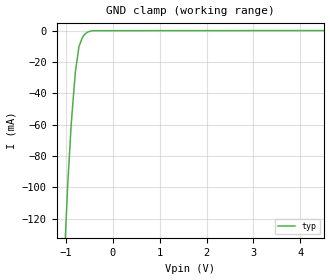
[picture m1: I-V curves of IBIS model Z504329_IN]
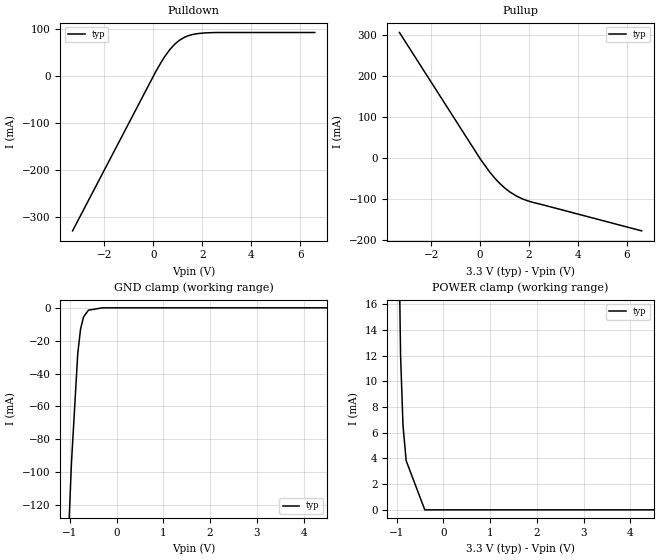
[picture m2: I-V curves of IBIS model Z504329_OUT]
| YOU ARE ONLY AUTHORIZED TO USE THIS SOFTWARE
| ACCORDING TO LICENSOR'S LICENSE RESTRICTIONS.
[IBIS Ver] 3.1
[File Name] mc74lcx00d.ibs
[File Rev] 2.0
[Source] Measured and created by ICX Technology
[Date] Friday 7/14/00 9:08:12 AM
[Copyright]
| (C) COPYRIGHT 1993-2000
| MENTOR GRAPHICS CORPORATION
| ICX STANDARD LIBRARY, ICX PROJECT MODELING,
| ICX CUSTOM MODELING, ICX VENDOR MODEL
| ALL RIGHTS RESERVED.
| THE FOLLOWING ARE TRADEMARKS OR SERVICE MARKS OF
| MENTOR GRAPHICS CORPORATION:ICX (R), ICX STANDARD
| LIBRARY(R), ICX PROJECT MODELING(R), ICX CUSTOM
| MODELING(R), qualityIBIS(TM), MODELVIEWER(TM),
| AND MODELEDITOR(TM)
| ALL COPIES OF SOFTWARE, INCLUDING BUT NOT LIMITED TO
| ANY MODIFICATIONS, ENHANCEMENTS OR DERIVATIVE WORKS,
| MUST CONTAIN ALL MENTOR GRAPHICS CORPORATION'S
| NOTICES AND LEGENDS, INCLUDING THOSE EMBEDDED IN
| SOFTWARE AND THOSE AFFIXED TO SOFTWARE MEDIUM
| AND CONTAINER, AS RECEIVED FROM MENTOR GRAPHICS
| CORPORATION.
|  ZAP Model Builder 2.7
[Component] MC74LCX00D
[Manufacturer] OnSemiconductor
[Package]
| variable   typ   min   max
R_pkg  .155ohms NA NA
L_pkg  3.028nH NA NA
C_pkg  .381pF NA NA
[Pin] signal_name  model_name  R_pin  L_pin C_pin
1 1A Z504329_IN .16 3.587n .407p
2 1B Z504329_IN .156 3.147n .387p
3 1Y Z504329_OUT .152 2.717n .367p
4 2A Z504329_IN .148 2.297n .347p
5 2B Z504329_IN .152 2.717n .367p
6 2Y Z504329_OUT .156 3.147n .387p
7 GND GND .16 3.587n .407p
8 3Y Z504329_OUT .16 3.587n .407p
9 3A Z504329_IN .156 3.147n .387p
10 3B Z504329_IN .152 2.717n .367p
11 4Y Z504329_OUT .148 2.297n .347p
12 4A Z504329_IN .152 2.717n .367p
13 4B Z504329_IN .156 3.147n .387p
14 VCC POWER .16 3.587n .407p
| Models and submodels in the file (2): Z504329_IN (Input), Z504329_OUT (Output)
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| (C) COPYRIGHT 1993-2000
| MENTOR GRAPHICS CORPORATION
| ICX STANDARD LIBRARY, ICX PROJECT MODELING,
| ICX CUSTOM MODELING, ICX VENDOR MODEL
| ALL RIGHTS RESERVED.
| THE FOLLOWING ARE TRADEMARKS OR SERVICE MARKS OF
| MENTOR GRAPHICS CORPORATION:ICX (R), ICX STANDARD
| LIBRARY(R), ICX PROJECT MODELING(R), ICX CUSTOM
| MODELING(R), qualityIBIS(TM), MODELVIEWER(TM),
| AND MODELEDITOR(TM)
| ALL COPIES OF SOFTWARE, INCLUDING BUT NOT LIMITED TO
| ANY MODIFICATIONS, ENHANCEMENTS OR DERIVATIVE WORKS,
| MUST CONTAIN ALL MENTOR GRAPHICS CORPORATION'S
| NOTICES AND LEGENDS, INCLUDING THOSE EMBEDDED IN
| SOFTWARE AND THOSE AFFIXED TO SOFTWARE MEDIUM
| AND CONTAINER, AS RECEIVED FROM MENTOR GRAPHICS
| CORPORATION.
| Model Application Version 1.89 2/18/99.
[Model] Z504329_IN
Model_type Input
Vinl = 800.0mV
Vinh = 2.000V
C_comp 4.000pF NA NA
| variable typ   min   max
[Voltage Range] 3.300V NA NA
[GND Clamp Reference] 0.000V NA NA
[POWER Clamp Reference] 3.300V NA NA
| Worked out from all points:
|   GND clamp passes 1 mA (typ) near -0.54 V on its own axis
[GND Clamp]
-3.3V     -4.132A    NA         NA
-1.055V   -160.4mA   NA         NA
-961.1mV  -98.17mA   NA         NA
-886mV    -59.28mA   NA         NA
-799.8mV  -26.67mA   NA         NA
-720.9mV  -9.946mA   NA         NA
-643.9mV  -4.011mA   NA         NA
-588.4mV  -1.966mA   NA         NA
-531.7mV  -758.7uA   NA         NA
-410.1mV  67.14uA    NA         NA
-205.1mV  100.2uA    NA         NA
6.6V      162.3uA    NA         NA
[POWER Clamp]
-3.3V     0A         NA         NA
6.6V      0A         NA         NA
| (C) COPYRIGHT 1993-2000
| MENTOR GRAPHICS CORPORATION
| ICX STANDARD LIBRARY, ICX PROJECT MODELING,
| ICX CUSTOM MODELING, ICX VENDOR MODEL
| ALL RIGHTS RESERVED.
| THE FOLLOWING ARE TRADEMARKS OR SERVICE MARKS OF
| MENTOR GRAPHICS CORPORATION:ICX (R), ICX STANDARD
| LIBRARY(R), ICX PROJECT MODELING(R), ICX CUSTOM
| MODELING(R), qualityIBIS(TM), MODELVIEWER(TM),
| AND MODELEDITOR(TM)
| ALL COPIES OF SOFTWARE, INCLUDING BUT NOT LIMITED TO
| ANY MODIFICATIONS, ENHANCEMENTS OR DERIVATIVE WORKS,
| MUST CONTAIN ALL MENTOR GRAPHICS CORPORATION'S
| NOTICES AND LEGENDS, INCLUDING THOSE EMBEDDED IN
| SOFTWARE AND THOSE AFFIXED TO SOFTWARE MEDIUM
| AND CONTAINER, AS RECEIVED FROM MENTOR GRAPHICS
| CORPORATION.
| Model Application Version 1.89 2/18/99.
[Model] Z504329_OUT
Model_type Output
Vref=0.000V
Rref=500.0ohms
Cref=50.00pF
Vmeas=1.500V
C_comp 8.000pF NA NA
| variable typ   min   max
[Voltage Range] 3.300V NA NA
[POWER Clamp Reference] 3.300V NA NA
[Pullup Reference] 3.300V NA NA
[Pulldown Reference] 0.000V NA NA
[GND Clamp Reference] 0.000V NA NA
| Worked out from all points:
|   slope of the pulldown table from 0 to 0.495 V, typ, clamps not added: 11.2 ohm
|   slope of the pullup table from 0 to 0.495 V, typ, clamps not added: 12.4 ohm
[GND Clamp]
-3.3V     -1.721A    NA         NA
-964.7mV  -94.51mA   NA         NA
-830mV    -27.94mA   NA         NA
-770.7mV  -13.05mA   NA         NA
-707.2mV  -5.612mA   NA         NA
-601.8mV  -1.438mA   NA         NA
-300.9mV  0A         NA         NA
6.6V      0A         NA         NA
[Pulldown]
-3.3V     -328.9mA   NA         NA
96.05mV   9.653mA    NA         NA
479.2mV   43.1mA     NA         NA
664.4mV   56.24mA    NA         NA
948.2mV   71.74mA    NA         NA
1.411V    86.14mA    NA         NA
2.081V    92.33mA    NA         NA
6.6V      93.36mA    NA         NA
[Pullup]
-3.3V     305.9mA    NA         NA
15mV      -3.748mA   NA         NA
398mV     -35.37mA   NA         NA
602mV     -49.92mA   NA         NA
995mV     -73.19mA   NA         NA
1.495V    -93.69mA   NA         NA
1.941V    -105mA     NA         NA
6.6V      -178.3mA   NA         NA
[POWER Clamp]
-3.3V     637.7mA    NA         NA
-917mV    12.1mA     NA         NA
-865mV    6.588mA    NA         NA
-797mV    3.829mA    NA         NA
-398.5mV  0A         NA         NA
6.6V      0A         NA         NA
[Ramp]
| variable typ min max
dV/dt_r 1.951/340.6p NA NA
dV/dt_f 1.951/666.9p NA NA
R_load = 500.0Ohms
